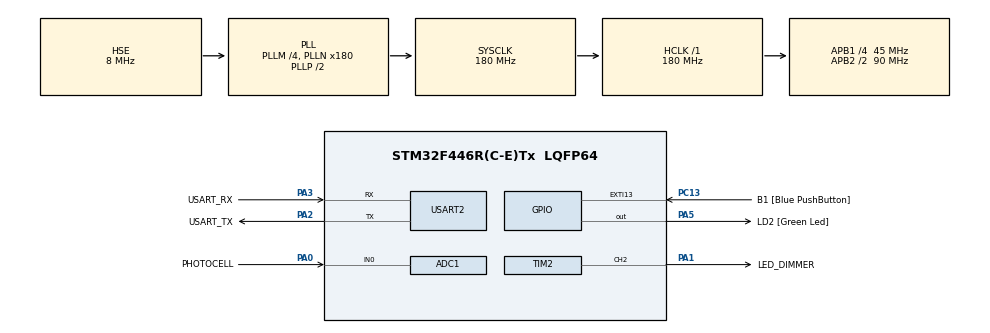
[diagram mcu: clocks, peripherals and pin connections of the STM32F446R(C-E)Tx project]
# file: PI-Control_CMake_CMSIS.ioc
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ADC1.Channel-0\#ChannelRegularConversion=ADC_CHANNEL_0
ADC1.ClockPrescaler=ADC_CLOCK_SYNC_PCLK_DIV4
ADC1.ContinuousConvMode=ENABLE
ADC1.NbrOfConversionFlag=1
ADC1.Rank-0\#ChannelRegularConversion=1
ADC1.SamplingTime-0\#ChannelRegularConversion=ADC_SAMPLETIME_3CYCLES
ADC1.master=1
Dma.Request0=USART2_RX
Dma.Request1=USART2_TX
Dma.USART2_RX.0.Direction=DMA_PERIPH_TO_MEMORY
Dma.USART2_RX.0.FIFOMode=DMA_FIFOMODE_DISABLE
Dma.USART2_RX.0.Instance=DMA1_Stream5
Dma.USART2_RX.0.MemDataAlignment=DMA_MDATAALIGN_BYTE
Dma.USART2_RX.0.MemInc=DMA_MINC_ENABLE
Dma.USART2_RX.0.Mode=DMA_NORMAL
Dma.USART2_RX.0.PeriphDataAlignment=DMA_PDATAALIGN_BYTE
Dma.USART2_RX.0.PeriphInc=DMA_PINC_DISABLE
Dma.USART2_RX.0.Priority=DMA_PRIORITY_LOW
Dma.USART2_TX.1.Direction=DMA_MEMORY_TO_PERIPH
Dma.USART2_TX.1.FIFOMode=DMA_FIFOMODE_DISABLE
Dma.USART2_TX.1.Instance=DMA1_Stream6
Dma.USART2_TX.1.MemDataAlignment=DMA_MDATAALIGN_BYTE
Dma.USART2_TX.1.MemInc=DMA_MINC_ENABLE
Dma.USART2_TX.1.Mode=DMA_NORMAL
Dma.USART2_TX.1.PeriphDataAlignment=DMA_PDATAALIGN_BYTE
Dma.USART2_TX.1.PeriphInc=DMA_PINC_DISABLE
Dma.USART2_TX.1.Priority=DMA_PRIORITY_LOW
FREERTOS.INCLUDE_vTaskDelayUntil=1
FREERTOS.Tasks01=pidTask,0,256,StartPIDTask,Default,NULL,Dynamic,NULL,NULL
Mcu.Family=STM32F4
Mcu.Name=STM32F446R(C-E)Tx
Mcu.Package=LQFP64
NVIC.ADC_IRQn=true\:5\:0\:false\:false\:true\:true\:true\:true\:true
NVIC.DMA1_Stream5_IRQn=true\:5\:0\:false\:false\:true\:true\:false\:true\:true
NVIC.DMA1_Stream6_IRQn=true\:5\:0\:false\:false\:true\:true\:false\:true\:true
NVIC.PriorityGroup=NVIC_PRIORITYGROUP_4
NVIC.TIM6_DAC_IRQn=true\:15\:0\:false\:false\:true\:false\:false\:true\:true
NVIC.TimeBase=TIM6_DAC_IRQn
NVIC.TimeBaseIP=TIM6
NVIC.USART2_IRQn=true\:5\:0\:false\:false\:true\:true\:true\:true\:true
PA0-WKUP.GPIO_Label=PHOTOCELL
PA0-WKUP.Signal=ADCx_IN0
PA1.GPIO_Label=LED_DIMMER
PA1.Signal=S_TIM2_CH2
PA13.GPIO_Label=TMS
PA13.Mode=Serial_Wire
PA13.Signal=SYS_JTMS-SWDIO
PA14.GPIO_Label=TCK
PA14.Mode=Serial_Wire
PA14.Signal=SYS_JTCK-SWCLK
PA2.GPIO_Label=USART_TX
PA2.Mode=Asynchronous
PA2.Signal=USART2_TX
PA3.GPIO_Label=USART_RX
PA3.Mode=Asynchronous
PA3.Signal=USART2_RX
PA5.GPIO_Label=LD2 [Green Led]
PA5.Signal=GPIO_Output
PB3.GPIO_Label=SWO
PB3.Signal=SYS_JTDO-SWO
PC13.GPIO_Label=B1 [Blue PushButton]
PC13.GPIO_ModeDefaultEXTI=GPIO_MODE_IT_FALLING
PC13.Signal=GPXTI13
PC14-OSC32_IN.Signal=RCC_OSC32_IN
PC15-OSC32_OUT.Signal=RCC_OSC32_OUT
PH0-OSC_IN.Mode=HSE-External-Oscillator
PH0-OSC_IN.Signal=RCC_OSC_IN
PH1-OSC_OUT.Mode=HSE-External-Oscillator
PH1-OSC_OUT.Signal=RCC_OSC_OUT
ProjectManager.HeapSize=0x200
ProjectManager.StackSize=0x400
ProjectManager.TargetToolchain=CMake
RCC.AHBFreq_Value=180000000
RCC.APB1CLKDivider=RCC_HCLK_DIV4
RCC.APB1Freq_Value=45000000
RCC.APB1TimFreq_Value=90000000
RCC.APB2CLKDivider=RCC_HCLK_DIV2
RCC.APB2Freq_Value=90000000
RCC.APB2TimFreq_Value=180000000
RCC.CortexFreq_Value=180000000
RCC.FLatency-AdvancedSettings=FLASH_LATENCY_5
RCC.HCLKFreq_Value=180000000
RCC.HSE_VALUE=8000000
RCC.HSI_VALUE=16000000
RCC.LSE_VALUE=32768
RCC.PLLM=4
RCC.PLLN=180
RCC.PLLSourceVirtual=RCC_PLLSOURCE_HSE
RCC.SYSCLKFreq_VALUE=180000000
RCC.SYSCLKSource=RCC_SYSCLKSOURCE_PLLCLK
RCC.USBFreq_Value=180000000
RCC.VCOOutputFreq_Value=360000000
SH.ADCx_IN0.0=ADC1_IN0,IN0
SH.S_TIM2_CH2.0=TIM2_CH2,PWM Generation2 CH2
TIM2.Channel-PWM\ Generation2\ CH2=TIM_CHANNEL_2
TIM2.Period=1000-1
TIM2.Prescaler=90-1
USART2.VirtualMode=VM_ASYNC
VP_FREERTOS_VS_CMSIS_V1.Mode=CMSIS_V1
VP_SYS_VS_tim6.Mode=TIM6
board=NUCLEO-F446RE

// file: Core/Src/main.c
/* USER CODE BEGIN Header */
/**
  ******************************************************************************
  * @file           : main.c
  * @brief          : Main program body
  ******************************************************************************
  * @attention
  *
  * Copyright (c) 2025 STMicroelectronics.
  * All rights reserved.
  *
  * This software is licensed under terms that can be found in the LICENSE file
  * in the root directory of this software component.
  * If no LICENSE file comes with this software, it is provided AS-IS.
  *
  ******************************************************************************
  */
/* USER CODE END Header */
#include "main.h"
#include "cmsis_os.h"

/* USER CODE BEGIN Includes */
#include "stm32f4xx_hal_tim.h"
#include "uart_driver_config.h"
#include "uart_driver_abstraction.h"
#include "logging.h"
#include "fault_module.h"
#include "commands.h"
#include "command_module.h"
#include "uart_driver.h"
#include "pwm.h"
#include "photocell.h"
#include <stdint.h>

/* USER CODE END Includes */

ADC_HandleTypeDef hadc1;

TIM_HandleTypeDef htim2;

UART_HandleTypeDef huart2;
DMA_HandleTypeDef hdma_usart2_rx;
DMA_HandleTypeDef hdma_usart2_tx;

osThreadId pidTaskHandle;

void SystemClock_Config(void);
static void MX_GPIO_Init(void);
static void MX_DMA_Init(void);
static void MX_USART2_UART_Init(void);
static void MX_ADC1_Init(void);
static void MX_TIM2_Init(void);
void StartPIDTask(void const * argument);

/* USER CODE BEGIN 0 */
uart_drv_t shared_driver;
PwmChannel_t led_dimmer_handle;
photoCell_t photocell_handle;

/* USER CODE END 0 */

int main(void)
{

  /* MCU Configuration--------------------------------------------------------*/

  /* Reset of all peripherals, Initializes the Flash interface and the Systick. */
  HAL_Init();

  /* Configure the system clock */
  SystemClock_Config();

  /* Initialize all configured peripherals */
  MX_GPIO_Init();
  MX_DMA_Init();
  MX_USART2_UART_Init();
  MX_ADC1_Init();
  MX_TIM2_Init();
  /* USER CODE BEGIN 2 */
  // Start ADC in interrupt mode for continuous conversion
  HAL_ADC_Start_IT(&hadc1);
  /* USER CODE END 2 */

  /* Create the thread(s) */
  /* definition and creation of pidTask */
  osThreadDef(pidTask, StartPIDTask, osPriorityNormal, 0, 256);
  pidTaskHandle = osThreadCreate(osThread(pidTask), NULL);

  /* Start scheduler */
  osKernelStart();

  /* We should never get here as control is now taken by the scheduler */

  /* Infinite loop */
  while (1)
  {

  }
}

void SystemClock_Config(void)
{
  RCC_OscInitTypeDef RCC_OscInitStruct = {0};
  RCC_ClkInitTypeDef RCC_ClkInitStruct = {0};

  /** Configure the main internal regulator output voltage
  */
  __HAL_RCC_PWR_CLK_ENABLE();
  __HAL_PWR_VOLTAGESCALING_CONFIG(PWR_REGULATOR_VOLTAGE_SCALE1);

  /** Initializes the RCC Oscillators according to the specified parameters
  * in the RCC_OscInitTypeDef structure.
  */
  RCC_OscInitStruct.OscillatorType = RCC_OSCILLATORTYPE_HSE;
  RCC_OscInitStruct.HSEState = RCC_HSE_ON;
  RCC_OscInitStruct.PLL.PLLState = RCC_PLL_ON;
  RCC_OscInitStruct.PLL.PLLSource = RCC_PLLSOURCE_HSE;
  RCC_OscInitStruct.PLL.PLLM = 4;
  RCC_OscInitStruct.PLL.PLLN = 180;
  RCC_OscInitStruct.PLL.PLLP = RCC_PLLP_DIV2;
  RCC_OscInitStruct.PLL.PLLQ = 2;
  RCC_OscInitStruct.PLL.PLLR = 2;
  if (HAL_RCC_OscConfig(&RCC_OscInitStruct) != HAL_OK)
  {
    Error_Handler();
  }

  /** Activate the Over-Drive mode
  */
  if (HAL_PWREx_EnableOverDrive() != HAL_OK)
  {
    Error_Handler();
  }

  /** Initializes the CPU, AHB and APB buses clocks
  */
  RCC_ClkInitStruct.ClockType = RCC_CLOCKTYPE_HCLK|RCC_CLOCKTYPE_SYSCLK
                              |RCC_CLOCKTYPE_PCLK1|RCC_CLOCKTYPE_PCLK2;
  RCC_ClkInitStruct.SYSCLKSource = RCC_SYSCLKSOURCE_PLLCLK;
  RCC_ClkInitStruct.AHBCLKDivider = RCC_SYSCLK_DIV1;
  RCC_ClkInitStruct.APB1CLKDivider = RCC_HCLK_DIV4;
  RCC_ClkInitStruct.APB2CLKDivider = RCC_HCLK_DIV2;

  if (HAL_RCC_ClockConfig(&RCC_ClkInitStruct, FLASH_LATENCY_5) != HAL_OK)
  {
    Error_Handler();
  }
}

static void MX_ADC1_Init(void)
{

  ADC_ChannelConfTypeDef sConfig = {0};

  /** Configure the global features of the ADC (Clock, Resolution, Data Alignment and number of conversion)
  */
  hadc1.Instance = ADC1;
  hadc1.Init.ClockPrescaler = ADC_CLOCK_SYNC_PCLK_DIV4;
  hadc1.Init.Resolution = ADC_RESOLUTION_12B;
  hadc1.Init.ScanConvMode = DISABLE;
  hadc1.Init.ContinuousConvMode = ENABLE;
  hadc1.Init.DiscontinuousConvMode = DISABLE;
  hadc1.Init.ExternalTrigConvEdge = ADC_EXTERNALTRIGCONVEDGE_NONE;
  hadc1.Init.ExternalTrigConv = ADC_SOFTWARE_START;
  hadc1.Init.DataAlign = ADC_DATAALIGN_RIGHT;
  hadc1.Init.NbrOfConversion = 1;
  hadc1.Init.DMAContinuousRequests = DISABLE;
  hadc1.Init.EOCSelection = ADC_EOC_SINGLE_CONV;
  if (HAL_ADC_Init(&hadc1) != HAL_OK)
  {
    Error_Handler();
  }

  /** Configure for the selected ADC regular channel its corresponding rank in the sequencer and its sample time.
  */
  sConfig.Channel = ADC_CHANNEL_0;
  sConfig.Rank = 1;
  sConfig.SamplingTime = ADC_SAMPLETIME_3CYCLES;
  if (HAL_ADC_ConfigChannel(&hadc1, &sConfig) != HAL_OK)
  {
    Error_Handler();
  }

}

static void MX_TIM2_Init(void)
{

  TIM_MasterConfigTypeDef sMasterConfig = {0};
  TIM_OC_InitTypeDef sConfigOC = {0};

  htim2.Instance = TIM2;
  htim2.Init.Prescaler = 90-1;
  htim2.Init.CounterMode = TIM_COUNTERMODE_UP;
  htim2.Init.Period = 1000-1;
  htim2.Init.ClockDivision = TIM_CLOCKDIVISION_DIV1;
  htim2.Init.AutoReloadPreload = TIM_AUTORELOAD_PRELOAD_DISABLE;
  if (HAL_TIM_PWM_Init(&htim2) != HAL_OK)
  {
    Error_Handler();
  }
  sMasterConfig.MasterOutputTrigger = TIM_TRGO_RESET;
  sMasterConfig.MasterSlaveMode = TIM_MASTERSLAVEMODE_DISABLE;
  if (HAL_TIMEx_MasterConfigSynchronization(&htim2, &sMasterConfig) != HAL_OK)
  {
    Error_Handler();
  }
  sConfigOC.OCMode = TIM_OCMODE_PWM1;
  sConfigOC.Pulse = 0;
  sConfigOC.OCPolarity = TIM_OCPOLARITY_HIGH;
  sConfigOC.OCFastMode = TIM_OCFAST_DISABLE;
  if (HAL_TIM_PWM_ConfigChannel(&htim2, &sConfigOC, TIM_CHANNEL_2) != HAL_OK)
  {
    Error_Handler();
  }
  HAL_TIM_MspPostInit(&htim2);

}

static void MX_USART2_UART_Init(void)
{

  huart2.Instance = USART2;
  huart2.Init.BaudRate = 250000;
  huart2.Init.WordLength = UART_WORDLENGTH_8B;
  huart2.Init.StopBits = UART_STOPBITS_1;
  huart2.Init.Parity = UART_PARITY_NONE;
  huart2.Init.Mode = UART_MODE_TX_RX;
  huart2.Init.HwFlowCtl = UART_HWCONTROL_NONE;
  huart2.Init.OverSampling = UART_OVERSAMPLING_16;
  if (HAL_UART_Init(&huart2) != HAL_OK)
  {
    Error_Handler();
  }

}

static void MX_DMA_Init(void)
{

  /* DMA controller clock enable */
  __HAL_RCC_DMA1_CLK_ENABLE();

  /* DMA interrupt init */
  /* DMA1_Stream5_IRQn interrupt configuration */
  HAL_NVIC_SetPriority(DMA1_Stream5_IRQn, 5, 0);
  HAL_NVIC_EnableIRQ(DMA1_Stream5_IRQn);
  /* DMA1_Stream6_IRQn interrupt configuration */
  HAL_NVIC_SetPriority(DMA1_Stream6_IRQn, 5, 0);
  HAL_NVIC_EnableIRQ(DMA1_Stream6_IRQn);

}

static void MX_GPIO_Init(void)
{
  GPIO_InitTypeDef GPIO_InitStruct = {0};

  /* GPIO Ports Clock Enable */
  __HAL_RCC_GPIOC_CLK_ENABLE();
  __HAL_RCC_GPIOH_CLK_ENABLE();
  __HAL_RCC_GPIOA_CLK_ENABLE();
  __HAL_RCC_GPIOB_CLK_ENABLE();

  /*Configure GPIO pin Output Level */
  HAL_GPIO_WritePin(LD2_GPIO_Port, LD2_Pin, GPIO_PIN_RESET);

  /*Configure GPIO pin : B1_Pin */
  GPIO_InitStruct.Pin = B1_Pin;
  GPIO_InitStruct.Mode = GPIO_MODE_IT_FALLING;
  GPIO_InitStruct.Pull = GPIO_NOPULL;
  HAL_GPIO_Init(B1_GPIO_Port, &GPIO_InitStruct);

  /*Configure GPIO pin : LD2_Pin */
  GPIO_InitStruct.Pin = LD2_Pin;
  GPIO_InitStruct.Mode = GPIO_MODE_OUTPUT_PP;
  GPIO_InitStruct.Pull = GPIO_NOPULL;
  GPIO_InitStruct.Speed = GPIO_SPEED_FREQ_LOW;
  HAL_GPIO_Init(LD2_GPIO_Port, &GPIO_InitStruct);

}

void StartPIDTask(void const * argument)
{
  HAL_TIM_PWM_Init(&htim2); // Initialize PWM on TIM2

  /* USER CODE BEGIN 5 */
  uart_system_init(&shared_driver, &huart2, &hdma_usart2_tx, &hdma_usart2_rx);

  photoCell_init(&photocell_handle, &hadc1);
  bool cal_ok = photoCell_autoCalibrate(&photocell_handle, &htim2, TIM_CHANNEL_2);
  log_write(LOG_LEVEL_INFO, "Photocell calibration %s: min=%u max=%u scaled=%d", cal_ok ? "succeeded" : "failed", photocell_handle.min_value, photocell_handle.max_value, photocell_handle.scaled);

  Pwm_init(&led_dimmer_handle, &htim2, TIM_CHANNEL_2);
  Pwm_start(&led_dimmer_handle);

  float photocell_value = 0.0f;

  /* Infinite loop */
  for(;;)
  {
    for (int pwm_percent = 0; pwm_percent < 100; pwm_percent += 1) {

      Pwm_setDuty(&led_dimmer_handle, (float)pwm_percent);

      photocell_value = readSensor(&photocell_handle);
      log_write(LOG_LEVEL_INFO, "Photocell Value: %f", photocell_value);

      osDelay(100); // Adjust delay as needed
    }

    for (int pwm_percent = 100; pwm_percent >= 0; pwm_percent -= 1) {

      Pwm_setDuty(&led_dimmer_handle, (float)pwm_percent);

      photocell_value = readSensor(&photocell_handle);
      log_write(LOG_LEVEL_INFO, "Photocell Value: %f", photocell_value);

      osDelay(100); // Adjust delay as needed
    }
  }
  /* USER CODE END 5 */
}

void HAL_TIM_PeriodElapsedCallback(TIM_HandleTypeDef *htim)
{
  if (htim->Instance == TIM6)
  {
    HAL_IncTick();
  }
}

void Error_Handler(void)
{
  __disable_irq();
  while (1)
  {
  }
}
